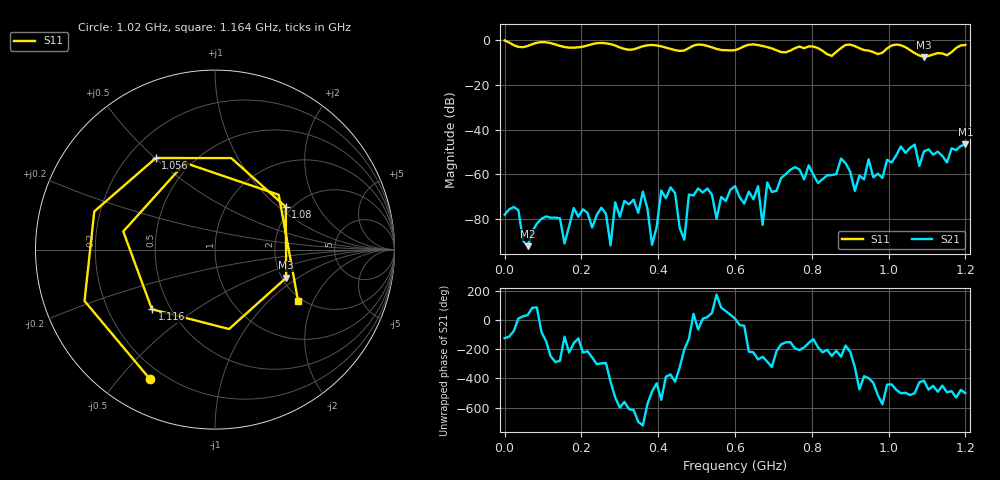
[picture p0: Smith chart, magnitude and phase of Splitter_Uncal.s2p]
# HZ S RI R 50
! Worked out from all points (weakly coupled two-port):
!   101 points, 50 kHz to 1.2 GHz, reference 50 ohm
!   highest |S21| = -46.58 dB at 1.2 GHz (marker M1); lowest = -92.1 dB at 60.05 MHz (marker M2)
!   lowest |S11| = -7.4 dB at 1.092 GHz (marker M3), VSWR 2.49, Z = 105 - j40.3 ohm
!   |S11| at or under -10 dB: nowhere
!   S12 and S22 are empty: the file has one direction only
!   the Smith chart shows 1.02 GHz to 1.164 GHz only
!   S11 on the Smith chart (normalised r, x): 1.02 GHz: 0.15, -0.61; 1.056 GHz: 0.31, +0.50; 1.08 GHz: 1.86, +1.12; 1.116 GHz: 0.40, -0.34; 1.164 GHz: 1.89, -1.56
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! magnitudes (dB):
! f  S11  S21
! 50 kHz  0.0  -78.0
! 60.05 MHz  -2.5  -92.1
! 204 MHz  -2.8  -75.6
! 360 MHz  -2.6  -67.7
! 396 MHz  -2.3  -83.5
! 408 MHz  -2.6  -67.2
! 468 MHz  -4.5  -89.2
! 528 MHz  -2.5  -66.3
! 552 MHz  -3.8  -79.9
! 600 MHz  -4.4  -65.3
! 660 MHz  -2.1  -65.3
! 672 MHz  -2.5  -82.6
! 684 MHz  -3.0  -63.6
! 804 MHz  -2.8  -60.1
! 1.008 GHz  -2.3  -54.6
! 1.02 GHz  -1.8  -51.4
! 1.056 GHz  -4.3  -48.1
! 1.08 GHz  -6.7  -56.2
! 1.092 GHz  -7.4  -49.7
! 1.116 GHz  -6.3  -51.1
! 1.164 GHz  -5.3  -48.3
! 1.2 GHz  -2.0  -46.6
